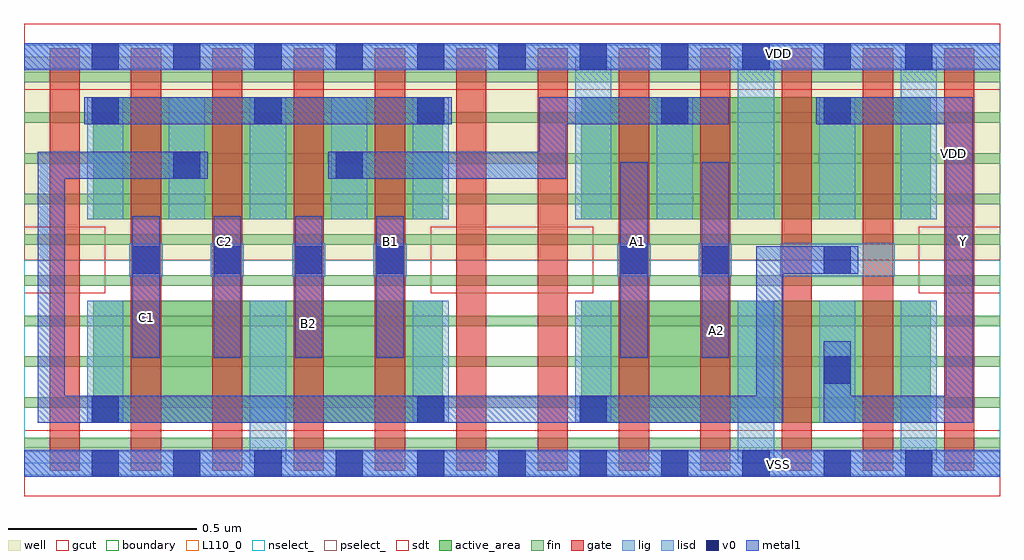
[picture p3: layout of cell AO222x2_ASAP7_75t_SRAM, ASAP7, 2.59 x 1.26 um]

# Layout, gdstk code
import gdstk
lib = gdstk.Library(unit=1e-6, precision=2.5e-10)
def R(c, l, rs):  # rectangles x0, y0, x1, y1
    for r in rs: c.add(gdstk.rectangle(r[:2], r[2:], *l))
def A(c, l, x, y, w, h, nx, ny, dx, dy):  # array of equal rectangles
    R(c, l, [(x+i*dx, y+j*dy, x+i*dx+w, y+j*dy+h) for i in range(nx) for j in range(ny)])
def P(c, l, *ps):  # polygons
    for p in ps: c.add(gdstk.Polygon(p, *l))
well = (1, 0)
fin = (2, 0)
gate = (7, 0)
gcut = (10, 0)
active_area = (11, 0)
nselect_ = (12, 0)
pselect_ = (13, 0)
lig = (16, 0)
lisd = (17, 0)
v0 = (18, 0)
metal1 = (19, 0)
sdt = (88, 0)
boundary = (100, 0)
L110_0 = (110, 0)

ao222x2_asap7_75t_sram = lib.new_cell('AO222x2_ASAP7_75t_SRAM')
R(ao222x2_asap7_75t_sram, well, [(0,0.54,2.592,1.08)])
A(ao222x2_asap7_75t_sram, fin, 0, 0.04, 2.592, 0.028, 1, 10, 0, 0.108)
A(ao222x2_asap7_75t_sram, gate, 0.068, -0.02, 0.08, 1.122, 12, 1, 0.216, 0)
R(ao222x2_asap7_75t_sram, gcut, [(0,-0.088,2.592,0.088), (0,0.452,0.216,0.628), (1.08,0.452,1.512,0.628), (2.376,0.452,2.592,0.628), (0,0.992,2.592,1.168)])
R(ao222x2_asap7_75t_sram, active_area, [(0.184,0.108,1.112,0.432), (1.48,0.108,2.408,0.432), (0.184,0.648,1.112,0.972), (1.48,0.648,2.408,0.972)])
R(ao222x2_asap7_75t_sram, nselect_, [(0,0,2.592,0.54)])
R(ao222x2_asap7_75t_sram, pselect_, [(0,0.54,2.592,1.08)])
A(ao222x2_asap7_75t_sram, lig, 0.28, 0.496, 0.088, 0.088, 4, 1, 0.216, 0)
R(ao222x2_asap7_75t_sram, lig, [(0,-0.032,2.592,0.032), (1.576,0.496,1.664,0.584), (1.792,0.496,1.88,0.584), (2.008,0.496,2.312,0.584), (0,1.048,2.592,1.112)])
A(ao222x2_asap7_75t_sram, lisd, 0.168, 0.648, 0.096, 0.324, 5, 1, 0.216, 0)
A(ao222x2_asap7_75t_sram, lisd, 1.464, 0.648, 0.096, 0.432, 3, 1, 0.432, 0)
R(ao222x2_asap7_75t_sram, lisd, [(0.6,0,0.696,0.432), (1.896,0,1.992,0.432), (2.328,0,2.424,0.432), (0.168,0.108,0.264,0.432), (1.032,0.108,1.128,0.432), (1.464,0.108,1.56,0.432), (2.112,0.108,2.208,0.432), (1.68,0.648,1.776,0.972), (2.112,0.648,2.208,0.972)])
A(ao222x2_asap7_75t_sram, v0, 0.18, -0.036, 0.072, 0.072, 11, 2, 0.216, 1.08)
A(ao222x2_asap7_75t_sram, v0, 0.288, 0.504, 0.072, 0.072, 4, 1, 0.216, 0)
A(ao222x2_asap7_75t_sram, v0, 0.18, 0.9, 0.072, 0.072, 3, 1, 0.432, 0)
R(ao222x2_asap7_75t_sram, v0, [(0.18,0.108,0.252,0.18), (1.044,0.108,1.116,0.18), (1.476,0.108,1.548,0.18), (2.124,0.212,2.196,0.284), (1.584,0.504,1.656,0.576), (1.8,0.504,1.872,0.576), (2.124,0.504,2.196,0.576), (0.396,0.756,0.468,0.828), (0.828,0.756,0.9,0.828), (1.692,0.9,1.764,0.972), (2.124,0.9,2.196,0.972)])
A(ao222x2_asap7_75t_sram, metal1, 0.288, 0.28, 0.072, 0.376, 4, 1, 0.216, 0)
R(ao222x2_asap7_75t_sram, metal1, [(0,-0.036,2.592,0.036), (1.584,0.28,1.656,0.8), (1.8,0.28,1.872,0.8), (0.16,0.9,1.136,0.972), (0,1.044,2.592,1.116)])
P(ao222x2_asap7_75t_sram, metal1, [(2.52,0.108),(2.124,0.108),(2.124,0.324),(2.196,0.324),(2.196,0.18),(2.448,0.18),(2.448,0.9),(2.104,0.9),(2.104,0.972),(2.52,0.972)],
  [(2.216,0.504),(2.016,0.504),(2.016,0.108),(0.036,0.108),(0.036,0.828),(0.488,0.828),(0.488,0.756),(0.108,0.756),(0.108,0.18),(1.944,0.18),(1.944,0.576),(2.216,0.576)],
  [(1.872,0.9),(1.44,0.9),(1.44,0.756),(0.808,0.756),(0.808,0.828),(1.368,0.828),(1.368,0.972),(1.872,0.972)])
A(ao222x2_asap7_75t_sram, sdt, 0.168, 0.108, 0.096, 0.324, 5, 1, 0.432, 0)
A(ao222x2_asap7_75t_sram, sdt, 0.168, 0.648, 0.096, 0.324, 5, 1, 0.216, 0)
A(ao222x2_asap7_75t_sram, sdt, 1.464, 0.648, 0.096, 0.324, 5, 1, 0.216, 0)
R(ao222x2_asap7_75t_sram, sdt, [(2.112,0.108,2.208,0.432), (2.328,0.108,2.424,0.432)])
R(ao222x2_asap7_75t_sram, boundary, [(0,0,2.592,1.08)])
R(ao222x2_asap7_75t_sram, L110_0, [(0,0,2.592,1.08)])
ao222x2_asap7_75t_sram.add(gdstk.Label('VSS', (1.916,-0.16), layer=3, texttype=251))
ao222x2_asap7_75t_sram.add(gdstk.Label('VDD', (2.468,0.824), layer=1, texttype=251))
ao222x2_asap7_75t_sram.add(gdstk.Label('C1', (0.324,0.388), layer=19, texttype=251))
ao222x2_asap7_75t_sram.add(gdstk.Label('B1', (0.972,0.588), layer=19, texttype=251))
ao222x2_asap7_75t_sram.add(gdstk.Label('B2', (0.756,0.372), layer=19, texttype=251))
ao222x2_asap7_75t_sram.add(gdstk.Label('C2', (0.532,0.588), layer=19, texttype=251))
ao222x2_asap7_75t_sram.add(gdstk.Label('C1', (0.324,0.388), layer=19, texttype=251))
ao222x2_asap7_75t_sram.add(gdstk.Label('A2', (1.84,0.352), layer=19, texttype=251))
ao222x2_asap7_75t_sram.add(gdstk.Label('A1', (1.628,0.588), layer=19, texttype=251))
ao222x2_asap7_75t_sram.add(gdstk.Label('B1', (0.972,0.588), layer=19, texttype=251))
ao222x2_asap7_75t_sram.add(gdstk.Label('B2', (0.756,0.372), layer=19, texttype=251))
ao222x2_asap7_75t_sram.add(gdstk.Label('A2', (1.84,0.352), layer=19, texttype=251))
ao222x2_asap7_75t_sram.add(gdstk.Label('A1', (1.628,0.588), layer=19, texttype=251))
ao222x2_asap7_75t_sram.add(gdstk.Label('VDD', (2.004,1.088), layer=19, texttype=251))
ao222x2_asap7_75t_sram.add(gdstk.Label('VSS', (2.004,-0.004), layer=19, texttype=251))
ao222x2_asap7_75t_sram.add(gdstk.Label('Y', (2.496,0.588), layer=19, texttype=251))
ao222x2_asap7_75t_sram.add(gdstk.Label('C2', (0.532,0.588), layer=19, texttype=251))

lib.write_gds('AO222x2_ASAP7_75t_SRAM.gds')
